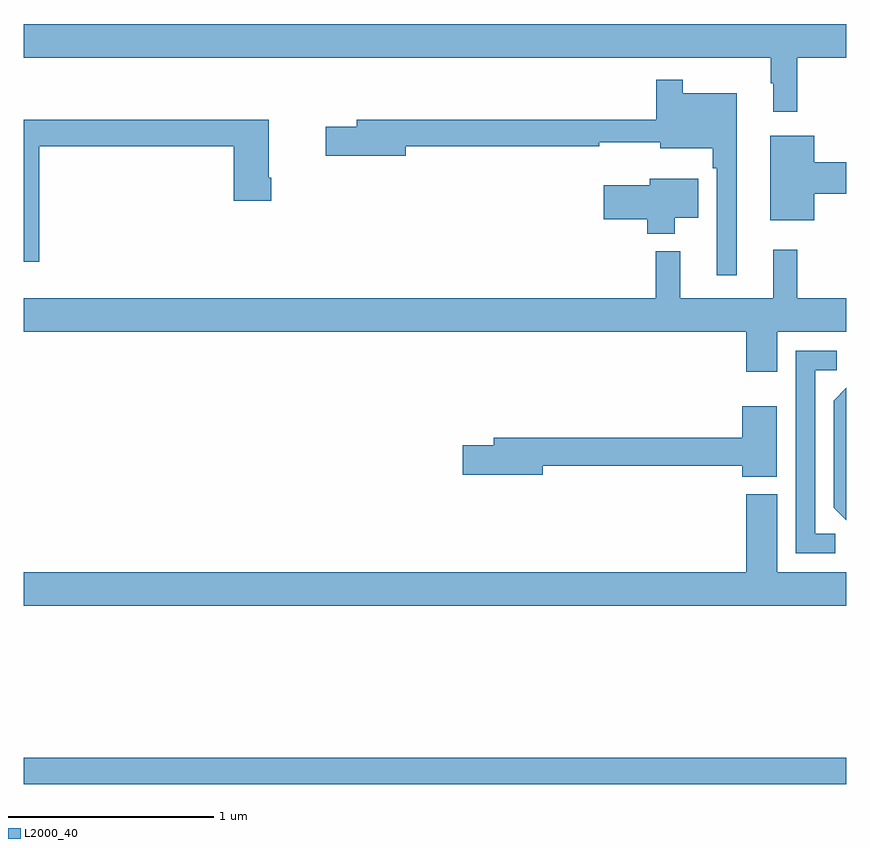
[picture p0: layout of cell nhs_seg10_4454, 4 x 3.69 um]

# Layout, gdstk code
import gdstk
lib = gdstk.Library(unit=1e-6, precision=1e-09)
def R(c, l, rs):  # rectangles x0, y0, x1, y1
    for r in rs: c.add(gdstk.rectangle(r[:2], r[2:], *l))
def P(c, l, *ps):  # polygons
    for p in ps: c.add(gdstk.Polygon(p, *l))
L2000_40 = (2000, 40)

nhs_seg10_4454 = lib.new_cell('nhs_seg10_4454')
R(nhs_seg10_4454, L2000_40, [(363,1312.77,367,1312.898)])
P(nhs_seg10_4454, L2000_40, [(366.761,1316.3),(367,1316.3),(367,1316.464),(363,1316.464),(363,1316.3),(366.633,1316.3),(366.633,1316.177),(366.644,1316.177),(366.644,1316.037),(366.761,1316.037)],
  [(366.466,1316.128),(366.205,1316.128),(366.205,1316.194),(366.076,1316.194),(366.076,1315.999),(364.619,1315.999),(364.619,1315.965),(364.47,1315.965),(364.47,1315.823),(364.858,1315.823),(364.858,1315.87),(365.799,1315.87),(365.799,1315.889),(366.095,1315.889),(366.095,1315.859),(366.349,1315.859),(366.349,1315.763),(366.369,1315.763),(366.369,1315.242),(366.466,1315.242)],
  [(363.077,1315.87),(364.022,1315.87),(364.022,1315.605),(364.205,1315.605),(364.205,1315.717),(364.192,1315.717),(364.192,1315.999),(363,1315.999),(363,1315.308),(363.077,1315.308)],
  [(366.844,1315.64),(367,1315.64),(367,1315.792),(366.844,1315.792),(366.844,1315.921),(366.629,1315.921),(366.629,1315.511),(366.844,1315.511)],
  [(366.166,1315.523),(366.28,1315.523),(366.28,1315.711),(366.044,1315.711),(366.044,1315.681),(365.82,1315.681),(365.82,1315.516),(366.032,1315.516),(366.032,1315.445),(366.166,1315.445)],
  [(366.073,1315.36),(366.073,1315.132),(363,1315.132),(363,1314.968),(366.512,1314.968),(366.512,1314.774),(366.664,1314.774),(366.664,1314.968),(367,1314.968),(367,1315.132),(366.761,1315.132),(366.761,1315.366),(366.644,1315.366),(366.644,1315.132),(366.191,1315.132),(366.191,1315.36)],
  [(366.945,1313.987),(366.849,1313.987),(366.849,1314.78),(366.952,1314.78),(366.952,1314.876),(366.753,1314.876),(366.753,1313.892),(366.945,1313.892)],
  [(367,1314.696),(366.939,1314.634),(366.939,1314.112),(366.998,1314.053),(367,1314.053)],
  [(366.661,1314.607),(366.494,1314.607),(366.494,1314.452),(365.285,1314.452),(365.285,1314.416),(365.136,1314.416),(365.136,1314.274),(365.524,1314.274),(365.524,1314.316),(366.494,1314.316),(366.494,1314.263),(366.661,1314.263)],
  [(367,1313.8),(366.664,1313.8),(366.664,1314.178),(366.512,1314.178),(366.512,1313.8),(363,1313.8),(363,1313.636),(367,1313.636)])

lib.write_gds('nhs_seg10_4454.gds')
